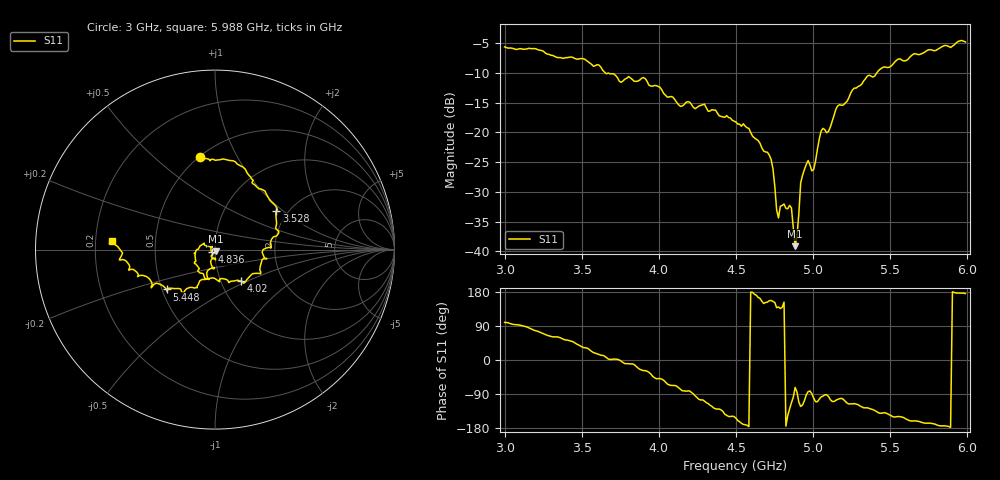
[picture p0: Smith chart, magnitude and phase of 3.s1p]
! Saved from nanovna library
# Hz S RI R 50
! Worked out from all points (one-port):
!   250 points, 3 GHz to 5.988 GHz, reference 50 ohm
!   lowest |S11| = -39.1 dB at 4.884 GHz (marker M1), VSWR 1.02, Z = 50.3 - j1.06 ohm
!   |S11| at or under -10 dB: 3.652 GHz to 5.414 GHz (1.762 GHz wide, 38.9 % of centre)
!   S11 on the Smith chart (normalised r, x): 3 GHz: 0.51, +0.72; 3.528 GHz: 1.75, +0.90; 4.02 GHz: 1.24, -0.46; 4.836 GHz: 0.96, -0.02; 5.448 GHz: 0.53, -0.27; 5.988 GHz: 0.27, +0.04
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3e9  -0.0831 0.5139
3.384e9  0.2445 0.3387
3.528e9  0.3415 0.2148
3.756e9  0.2626 -0.0155
3.9e9  0.2546 -0.1353
4.02e9  0.1432 -0.1751
4.128e9  0.0498 -0.163
4.5e9  -0.1091 -0.0546
4.716e9  -0.0592 0.0258
4.74e9  -0.0449 0.0215
4.776e9  -0.0147 0.0123
4.788e9  -0.0172 0.0167
4.836e9  -0.0191 -0.0125
4.86e9  -0.009 -0.0214
4.872e9  -0.00223 -0.0157
4.884e9  0.00335 -0.0106
4.896e9  0.00121 -0.0134
4.92e9  -0.0204 -0.0319
4.944e9  -0.0146 -0.0465
4.968e9  0.00649 -0.0576
5.004e9  -0.00873 -0.048
5.052e9  -0.0133 -0.1013
5.1e9  -0.0108 -0.1011
5.16e9  -0.0399 -0.1619
5.244e9  -0.0921 -0.1921
5.448e9  -0.2672 -0.222
5.616e9  -0.3807 -0.1505
5.988e9  -0.5718 0.0467
